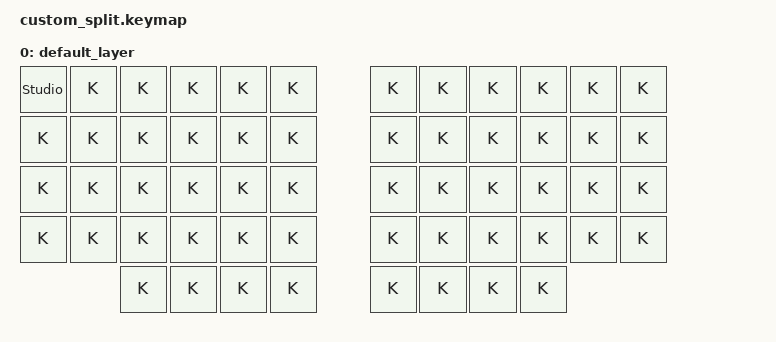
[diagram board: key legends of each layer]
#include <behaviors.dtsi>
#include <dt-bindings/zmk/keys.h>
#include <dt-bindings/zmk/bt.h>

&pinctrl {
    spi0_default: spi0_default {
        group1 {
            psels = <NRF_PSEL(SPIM_SCK, 0, 8)>,
                <NRF_PSEL(SPIM_MOSI, 0, 6)>,
                <NRF_PSEL(SPIM_MISO, 0, 25)>;
        };
    };
    spi0_sleep: spi0_sleep {
        group1 {
            psels = <NRF_PSEL(SPIM_SCK, 0, 8)>,
                <NRF_PSEL(SPIM_MOSI, 0, 6)>,
                <NRF_PSEL(SPIM_MISO, 0, 25)>;
            low-power-enable;
        };
    };
};

&nice_view_spi {
    cs-gpios = <&pro_micro 2 GPIO_ACTIVE_HIGH>;
};

/ {
    keymap {
        compatible = "zmk,keymap";

        default_layer {
            bindings = <
                &studio_unlock &kp K          &kp K          &kp K          &kp K          &kp K                    &kp K          &kp K              &kp K          &kp K              &kp K          &kp K
                &kp K          &kp K          &kp K          &kp K          &kp K          &kp K                    &kp K          &kp K              &kp K          &kp K              &kp K          &kp K
                &kp K          &kp K          &kp K          &kp K          &kp K          &kp K                    &kp K          &kp K              &kp K          &kp K              &kp K          &kp K
                &kp K          &kp K          &kp K          &kp K          &kp K          &kp K                    &kp K          &kp K              &kp K          &kp K              &kp K          &kp K
                                              &kp K          &kp K          &kp K          &kp K                    &kp K          &kp K              &kp K          &kp K
            >;
        };

        extra1 {
            status = "reserved";
        };

        extra2 {
            status = "reserved";
        };

        extra3 {
            status = "reserved";
        };
    };
};
